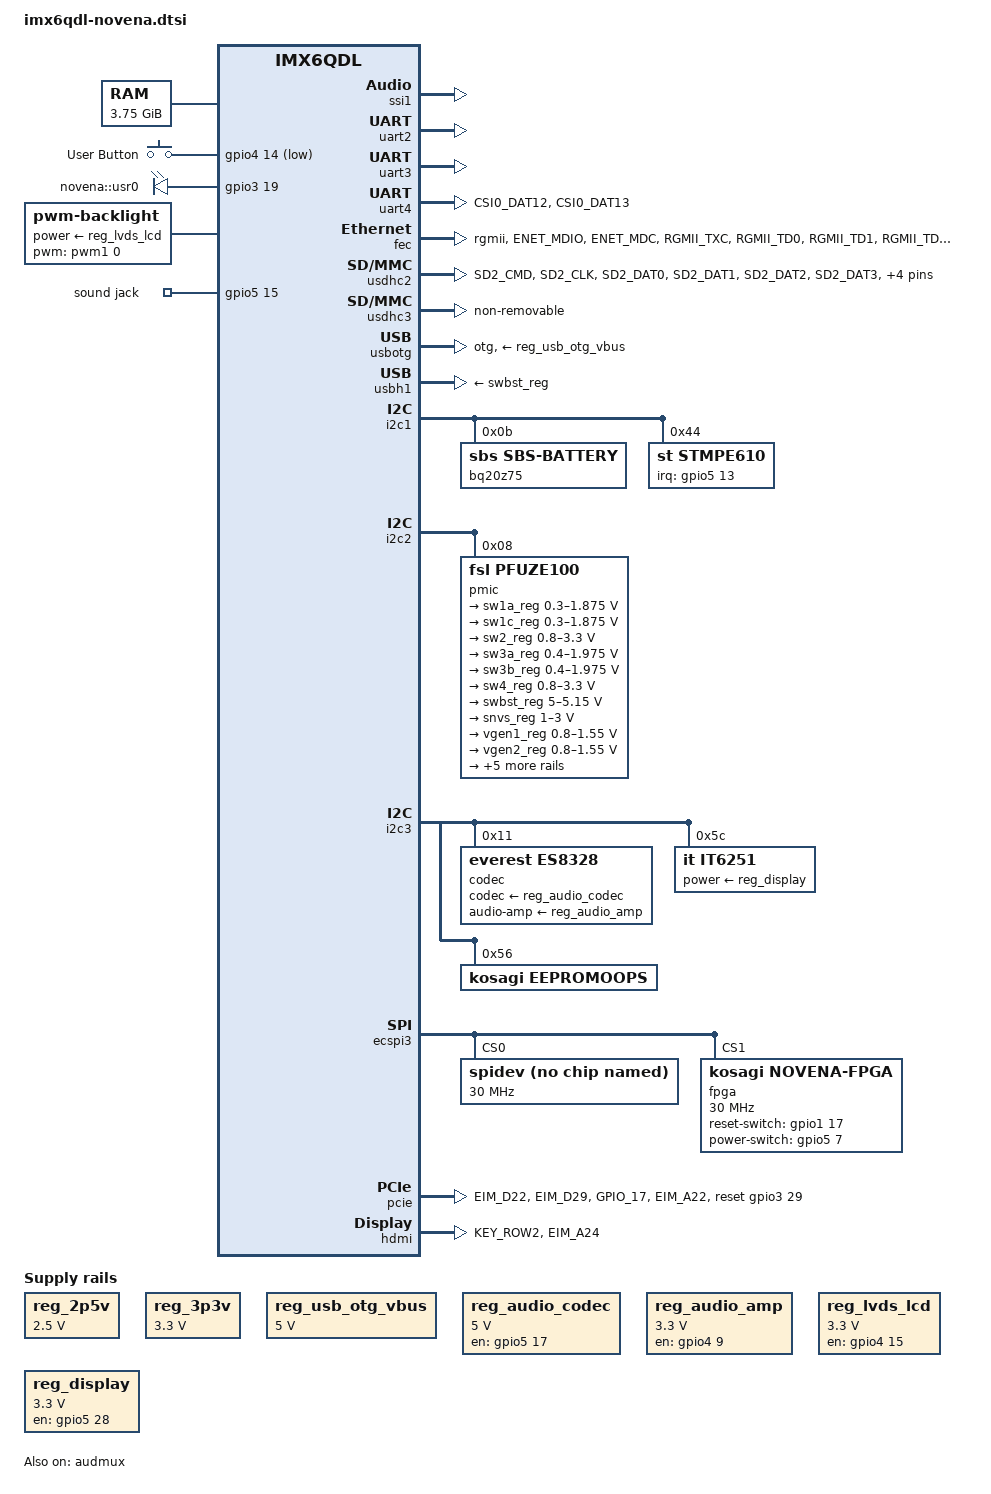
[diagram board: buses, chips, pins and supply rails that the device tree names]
/*
 * Copyright 2012 Freescale Semiconductor, Inc.
 * Copyright 2011 Linaro Ltd.
 *
 * The code contained herein is licensed under the GNU General Public
 * License. You may obtain a copy of the GNU General Public License
 * Version 2 or later at the following locations:
 *
 * http://www.opensource.org/licenses/gpl-license.html
 * http://www.gnu.org/copyleft/gpl.html
 */

/ {
	memory {
		reg = <0x10000000 0xefffffff>;
	};

	regulators {
		compatible = "simple-bus";

		reg_2p5v: 2p5v {
			compatible = "regulator-fixed";
			regulator-name = "2P5V";
			regulator-min-microvolt = <2500000>;
			regulator-max-microvolt = <2500000>;
			regulator-always-on;
		};

		reg_3p3v: 3p3v {
			compatible = "regulator-fixed";
			regulator-name = "3P3V";
			regulator-min-microvolt = <3300000>;
			regulator-max-microvolt = <3300000>;
			regulator-always-on;
		};

		reg_usb_otg_vbus: usb_otg_vbus {
			compatible = "regulator-fixed";
			regulator-name = "usb_otg_vbus";
			regulator-min-microvolt = <5000000>;
			regulator-max-microvolt = <5000000>;
			enable-active-high;
		};
		reg_audio_codec: es8328-regulator {
			compatible = "regulator-fixed";
			regulator-name = "es8328-power";
			regulator-boot-on;
			regulator-min-microvolt = <5000000>;
			regulator-max-microvolt = <5000000>;
			startup-delay-us = <400000>;
			gpio = <&gpio5 17 0>;
			enable-active-high;
		};
		reg_audio_amp: audio-amp-supply {
			compatible = "regulator-fixed";
			regulator-name = "audio-amp-supply";
			regulator-min-microvolt = <3300000>;
			regulator-max-microvolt = <3300000>;
			startup-delay-us = <300000>;
			gpio = <&gpio4 9 0>;
			enable-active-high;
		};
		reg_lvds_lcd: lcd-regulator {
			compatible = "regulator-fixed";

			regulator-name = "lcd-lvds-power";
			regulator-min-microvolt = <3300000>;
			regulator-max-microvolt = <3300000>;
			regulator-boot-on;

			gpio = <&gpio4 15 0>;
			enable-active-high;
		};
		reg_display: display-regulator {
			compatible = "regulator-fixed";

			regulator-name = "lcd-lvds-power";
			regulator-min-microvolt = <3300000>;
			regulator-max-microvolt = <3300000>;
			startup-delay-us = <100000>;
			regulator-boot-on;

			gpio = <&gpio5 28 0>;
			enable-active-high;
		};
	};

	gpio-keys {
		compatible = "gpio-keys";

		user-button {
			label = "User Button";
			gpios = <&gpio4 14 1>;
			gpio-key,wakeup;
			linux,code = <116>; /* KEY_POWER */
		};
	};

	imx-drm {
		compatible = "fsl,imx-drm";
		crtcs = <&ipu1 0>, <&ipu1 1>;
		connectors = <&hdmi>;
	};

	leds {
		compatible = "gpio-leds";
		heartbeat {
			label = "novena::usr0";
			gpios = <&gpio3 19 0>;
			linux,default-trigger = "heartbeat";
		};
	};

	backlight {
		compatible = "pwm-backlight";
		pwms = <&pwm1 0 10000000>;

		pinctrl-names = "default";
		pinctrl-0 = <&pinctrl_backlight_novena>;
		power-supply = <&reg_lvds_lcd>;

		brightness-levels = <0 3 6 12 16 24 32 48 64 96 128 192 255>;
		default-brightness-level = <12>;
	};

	sound {
		compatible = "kosagi,imx-audio-es8328";
		model = "imx-audio-es8328";
		clocks = <&clks 169>, <&clks 57>, <&clks 173>, <&clks 203>, <&clks 201>;
		clock-names = "cko1", "cko1_sel", "pll4_audio", "pll4_post_div", "cko_sel";
		ssi-controller = <&ssi1>;
		audio-codec = <&codec>;
		jack-gpio = <&gpio5 15 0>;
		audio-routing =
			"MIC_IN", "Mic Jack",
			"Mic Jack", "Mic Bias",
			"Headphone Jack", "HP_OUT",
			"Ext Spk", "SPK_OUT";
		mux-int-port = <1>;
		mux-ext-port = <3>;
	};
};

&ssi1 {
	fsl,mode = "i2s-slave";
	status = "okay";
};

&uart2 {
	status = "okay";
	pinctrl-names = "default";
	pinctrl-0 = <&pinctrl_uart2_1>;
};

&uart3 {
	status = "okay";
	pinctrl-names = "default";
	pinctrl-0 = <&pinctrl_uart3_1>;
};

&uart4 {
	status = "okay";
	pinctrl-names = "default";
	pinctrl-0 = <&pinctrl_uart4_novena>;
};

&iomuxc {
	pinctrl-names = "default";
	pinctrl-0 = <&pinctrl_hog>;

	backlight {
		pinctrl_backlight_novena: backlight-pwm {
			fsl,pins = <
				MX6QDL_PAD_DISP0_DAT8__PWM1_OUT   0x1b0b0
				MX6QDL_PAD_CSI0_DAT10__GPIO5_IO28 0x80000000
				MX6QDL_PAD_KEY_ROW4__GPIO4_IO15   0x80000000
			>;
		};
	};

	enet {
		pinctrl_enet_novena: enetgrp-novena {
			fsl,pins = <
				MX6QDL_PAD_ENET_MDIO__ENET_MDIO       0x1b0b0
				MX6QDL_PAD_ENET_MDC__ENET_MDC         0x1b0b0
				MX6QDL_PAD_RGMII_TXC__RGMII_TXC       0x1b020
				MX6QDL_PAD_RGMII_TD0__RGMII_TD0       0x1b028
				MX6QDL_PAD_RGMII_TD1__RGMII_TD1       0x1b028
				MX6QDL_PAD_RGMII_TD2__RGMII_TD2       0x1b028
				MX6QDL_PAD_RGMII_TD3__RGMII_TD3       0x1b028
				MX6QDL_PAD_RGMII_TX_CTL__RGMII_TX_CTL 0x1b028
				MX6QDL_PAD_ENET_REF_CLK__ENET_TX_CLK  0x1b0b0
				MX6QDL_PAD_RGMII_RXC__RGMII_RXC       0x1b0b0
				MX6QDL_PAD_RGMII_RD0__RGMII_RD0       0x1b0b0
				MX6QDL_PAD_RGMII_RD1__RGMII_RD1       0x1b0b0
				MX6QDL_PAD_RGMII_RD2__RGMII_RD2       0x1b0b0
				MX6QDL_PAD_RGMII_RD3__RGMII_RD3       0x1b0b0
				MX6QDL_PAD_RGMII_RX_CTL__RGMII_RX_CTL 0x1b0b0
				MX6QDL_PAD_GPIO_16__ENET_REF_CLK      0x4001b0a8

				/* Ethernet reset */
				MX6QDL_PAD_EIM_D23__GPIO3_IO23  0x80000000
			>;
		};
	};

	hdmi {
		pinctrl_hdmi_novena: hdmi_novena {
			fsl,pins = <
				MX6QDL_PAD_KEY_ROW2__HDMI_TX_CEC_LINE 0x1f8b0
				MX6QDL_PAD_EIM_A24__GPIO5_IO04        0x80000000
			>;
		};
	};

	fpga {
		pinctrl_fpga_gpio: fpga_gpio {
			fsl,pins = <
				/* FPGA power */
				MX6QDL_PAD_SD1_DAT1__GPIO1_IO17 0x80000000

				/* Reset */
				MX6QDL_PAD_DISP0_DAT13__GPIO5_IO07 0x80000000

				/* FPGA GPIOs */
				MX6QDL_PAD_EIM_DA0__GPIO3_IO00	0x80000000
				MX6QDL_PAD_EIM_DA1__GPIO3_IO01	0x80000000
				MX6QDL_PAD_EIM_DA2__GPIO3_IO02	0x80000000
				MX6QDL_PAD_EIM_DA3__GPIO3_IO03	0x80000000
				MX6QDL_PAD_EIM_DA4__GPIO3_IO04	0x80000000
				MX6QDL_PAD_EIM_DA5__GPIO3_IO05  0x80000000
				MX6QDL_PAD_EIM_DA6__GPIO3_IO06  0x80000000
				MX6QDL_PAD_EIM_DA7__GPIO3_IO07  0x80000000
				MX6QDL_PAD_EIM_DA8__GPIO3_IO08	0x80000000
				MX6QDL_PAD_EIM_DA9__GPIO3_IO09	0x80000000
				MX6QDL_PAD_EIM_DA10__GPIO3_IO10	0x80000000
				MX6QDL_PAD_EIM_DA11__GPIO3_IO11	0x80000000
				MX6QDL_PAD_EIM_DA12__GPIO3_IO12	0x80000000
				MX6QDL_PAD_EIM_DA13__GPIO3_IO13	0x80000000
				MX6QDL_PAD_EIM_DA14__GPIO3_IO14	0x80000000
				MX6QDL_PAD_EIM_DA15__GPIO3_IO15	0x80000000
				MX6QDL_PAD_EIM_A16__GPIO2_IO22  0x80000000
				MX6QDL_PAD_EIM_A17__GPIO2_IO21  0x80000000
				MX6QDL_PAD_EIM_A18__GPIO2_IO20  0x80000000
				MX6QDL_PAD_EIM_CS0__GPIO2_IO23	0x80000000
				MX6QDL_PAD_EIM_CS1__GPIO2_IO24	0x80000000
				MX6QDL_PAD_EIM_LBA__GPIO2_IO27  0x80000000
				MX6QDL_PAD_EIM_OE__GPIO2_IO25   0x80000000
				MX6QDL_PAD_EIM_RW__GPIO2_IO26   0x80000000
				MX6QDL_PAD_EIM_WAIT__GPIO5_IO00 0x80000000
				MX6QDL_PAD_EIM_BCLK__GPIO6_IO31 0x80000000
			>;
		};

		pinctrl_fpga_eim: fpga_eim {
			fsl,pins = <
				/* FPGA power */
				MX6QDL_PAD_SD1_DAT1__GPIO1_IO17 0x80000000

				/* Reset */
				MX6QDL_PAD_DISP0_DAT13__GPIO5_IO07 0x80000000

				/* FPGA GPIOs */
				MX6QDL_PAD_EIM_DA0__EIM_AD00    0xb0f1
				MX6QDL_PAD_EIM_DA1__EIM_AD01    0xb0f1
				MX6QDL_PAD_EIM_DA2__EIM_AD02    0xb0f1
				MX6QDL_PAD_EIM_DA3__EIM_AD03    0xb0f1
				MX6QDL_PAD_EIM_DA4__EIM_AD04    0xb0f1
				MX6QDL_PAD_EIM_DA5__EIM_AD05    0xb0f1
				MX6QDL_PAD_EIM_DA6__EIM_AD06    0xb0f1
				MX6QDL_PAD_EIM_DA7__EIM_AD07    0xb0f1
				MX6QDL_PAD_EIM_DA8__EIM_AD08    0xb0f1
				MX6QDL_PAD_EIM_DA9__EIM_AD09    0xb0f1
				MX6QDL_PAD_EIM_DA10__EIM_AD10   0xb0f1
				MX6QDL_PAD_EIM_DA11__EIM_AD11   0xb0f1
				MX6QDL_PAD_EIM_DA12__EIM_AD12   0xb0f1
				MX6QDL_PAD_EIM_DA13__EIM_AD13   0xb0f1
				MX6QDL_PAD_EIM_DA14__EIM_AD14   0xb0f1
				MX6QDL_PAD_EIM_DA15__EIM_AD15   0xb0f1
				MX6QDL_PAD_EIM_A16__EIM_ADDR16  0xb0f1
				MX6QDL_PAD_EIM_A17__EIM_ADDR17  0xb0f1
				MX6QDL_PAD_EIM_A18__EIM_ADDR18  0xb0f1
				MX6QDL_PAD_EIM_CS0__EIM_CS0_B   0xb0f1
				MX6QDL_PAD_EIM_CS1__EIM_CS1_B   0xb0f1
				MX6QDL_PAD_EIM_LBA__EIM_LBA_B   0xb0f1
				MX6QDL_PAD_EIM_OE__EIM_OE_B     0xb0f1
				MX6QDL_PAD_EIM_RW__EIM_RW       0xb0f1
				MX6QDL_PAD_EIM_WAIT__EIM_WAIT_B 0xb0f1
				MX6QDL_PAD_EIM_BCLK__EIM_BCLK   0xb0f1
			>;
		};
	};

	hog {
		pinctrl_hog: hoggrp {
			fsl,pins = <
				/* Touchscreen interrupt */
				MX6QDL_PAD_DISP0_DAT19__GPIO5_IO13 0x80000000

				/* GPIO LED */
				MX6QDL_PAD_EIM_D19__GPIO3_IO19  0x80000000

				/* User button */
				MX6QDL_PAD_KEY_COL4__GPIO4_IO14 0x80000000
			>;
		};
	};

	pcie {
		pinctrl_pcie_novena: pciegrp-novena {
			fsl,pins = <
				/* Wakeup */
				MX6QDL_PAD_EIM_D22__GPIO3_IO22  0x80000000

				/* Reset */
				MX6QDL_PAD_EIM_D29__GPIO3_IO29  0x80000000

				/* Power On */
				MX6QDL_PAD_GPIO_17__GPIO7_IO12  0x80000000

				/* Wifi kill */
				MX6QDL_PAD_EIM_A22__GPIO2_IO16  0x80000000
			>;
		};
	};

	sound {
		pinctrl_sound_novena: sound-novena {
			fsl,pins = <
				/* Audio power regulator */
				MX6QDL_PAD_DISP0_DAT23__GPIO5_IO17 0x80000000

				/* Headphone plug */
				MX6QDL_PAD_DISP0_DAT21__GPIO5_IO15 0x80000000

				/* Speaker amplifier mute */
				MX6QDL_PAD_KEY_ROW1__GPIO4_IO09    0x80000000

				MX6QDL_PAD_GPIO_0__CCM_CLKO1       0x80000000
			>;
		};
	};

	uart4 {
		pinctrl_uart4_novena: uart4-novena {
			fsl,pins = <
				MX6QDL_PAD_CSI0_DAT12__UART4_TX_DATA 0x1b0b1
				MX6QDL_PAD_CSI0_DAT13__UART4_RX_DATA 0x1b0b1
			>;
		};
	};

	usdhc2 {
		pinctrl_usdhc2_novena: usdhc2-novena {
			fsl,pins = <
				MX6QDL_PAD_SD2_CMD__SD2_CMD    0x17059
				MX6QDL_PAD_SD2_CLK__SD2_CLK    0x10059
				MX6QDL_PAD_SD2_DAT0__SD2_DATA0 0x17059
				MX6QDL_PAD_SD2_DAT1__SD2_DATA1 0x17059
				MX6QDL_PAD_SD2_DAT2__SD2_DATA2 0x17059
				MX6QDL_PAD_SD2_DAT3__SD2_DATA3 0x17059

				/* Write protect */
				MX6QDL_PAD_GPIO_2__GPIO1_IO02   0x80000000

				/* Card detect */
				MX6QDL_PAD_GPIO_4__GPIO1_IO04   0x80000000
			>;
		};
	};
};

&fec {
	status = "okay";
	pinctrl-names = "default";
	pinctrl-0 = <&pinctrl_enet_novena>;
	phy-mode = "rgmii";
	phy-reset-gpios = <&gpio3 23 0>;
	mac-address = [00 00 00 00 00 00];
	rxc-skew-ps = <3000>;
	rxdv-skew-ps = <0>;
	txc-skew-ps = <3000>;
	txen-skew-ps = <0>;
	rxd0-skew-ps = <0>;
	rxd1-skew-ps = <0>;
	rxd2-skew-ps = <0>;
	rxd3-skew-ps = <0>;
	txd0-skew-ps = <3000>;
	txd1-skew-ps = <3000>;
	txd2-skew-ps = <3000>;
	txd3-skew-ps = <3000>;
};

&usdhc2 {
	pinctrl-names = "default";
	pinctrl-0 = <&pinctrl_usdhc2_1>;
	pinctrl-0 = <&pinctrl_usdhc2_novena>;
	cd-gpios = <&gpio1 4 0>;
	wp-gpios = <&gpio1 2 0>;
	status = "okay";
};

&usdhc3 {
	pinctrl-names = "default";
	pinctrl-0 = <&pinctrl_usdhc3_2>;
	non-removable;
	status = "okay";
};

&usbotg {
	vbus-supply = <&reg_usb_otg_vbus>;
	dr_mode = "otg";
	pinctrl-names = "default";
	pinctrl-0 = <&pinctrl_usbotg_2>;
	disable-over-current;
	status = "okay";
};

&usbh1 {
	vbus-supply = <&swbst_reg>;
	status = "okay";
};

&audmux {
	status = "okay";
	pinctrl-names = "default";
	pinctrl-0 = <&pinctrl_audmux_2>;
};

&i2c1 {
	pinctrl-names = "default";
	pinctrl-0 = <&pinctrl_i2c1_1>;
	status = "okay";

	bq20z75@b {
		compatible = "sbs,sbs-battery";
		status = "okay";
		reg = <0xb>;
		sbs,i2c-retry-count = <20>;
		sbs,poll-retry-count = <20>;
	};

	stmpe610@0 {
		status = "okay";
		compatible = "st,stmpe610";
		#address-cells = <1>;
		#size-cells = <0>;
		reg = <0x44>;
		irq-over-gpio;
		irq-gpios = <&gpio5 13 0>;
		id = <0>;
		blocks = <0x5>;
		irq-trigger = <0x1>;

		stmpe_adc {
			compatible = "st,stmpe-adc";
		};
		stmpe_touchscreen {
			compatible = "st,stmpe-ts";
			ts,sample-time = <4>;
			ts,mod-12b = <1>;
			ts,ref-sel = <0>;
			ts,adc-freq = <1>;
			ts,ave-ctrl = <1>;
			ts,touch-det-delay = <2>;
			ts,settling = <2>;
			ts,fraction-z = <7>;
			ts,i-drive = <1>;
		};
	};
};

&i2c2 {
	pinctrl-names = "default";
	pinctrl-0 = <&pinctrl_i2c2_1>;
	status = "okay";

	pmic: pfuze100@08 {
		compatible = "fsl,pfuze100";
		reg = <0x08>;
		status = "okay";

		regulators {
			sw1a_reg: sw1ab {
				regulator-min-microvolt = <300000>;
				regulator-max-microvolt = <1875000>;
				regulator-boot-on;
				regulator-always-on;
				regulator-ramp-delay = <6250>;
			};

			sw1c_reg: sw1c {
				regulator-min-microvolt = <300000>;
				regulator-max-microvolt = <1875000>;
				regulator-boot-on;
				regulator-always-on;
			};

			sw2_reg: sw2 {
				regulator-min-microvolt = <800000>;
				regulator-max-microvolt = <3300000>;
				regulator-boot-on;
				regulator-always-on;
			};

			sw3a_reg: sw3a {
				regulator-min-microvolt = <400000>;
				regulator-max-microvolt = <1975000>;
				regulator-boot-on;
				regulator-always-on;
			};

			sw3b_reg: sw3b {
				regulator-min-microvolt = <400000>;
				regulator-max-microvolt = <1975000>;
				regulator-boot-on;
				regulator-always-on;
			};

			sw4_reg: sw4 {
				regulator-min-microvolt = <800000>;
				regulator-max-microvolt = <3300000>;
			};

			swbst_reg: swbst {
				regulator-min-microvolt = <5000000>;
				regulator-max-microvolt = <5150000>;
				regulator-boot-on;
			};

			snvs_reg: vsnvs {
				regulator-min-microvolt = <1000000>;
				regulator-max-microvolt = <3000000>;
				regulator-boot-on;
				regulator-always-on;
			};

			vref_reg: vrefddr {
				regulator-boot-on;
				regulator-always-on;
			};

			vgen1_reg: vgen1 {
				regulator-min-microvolt = <800000>;
				regulator-max-microvolt = <1550000>;
			};

			vgen2_reg: vgen2 {
				regulator-min-microvolt = <800000>;
				regulator-max-microvolt = <1550000>;
			};

			vgen3_reg: vgen3 {
				regulator-min-microvolt = <1800000>;
				regulator-max-microvolt = <3300000>;
			};

			vgen4_reg: vgen4 {
				regulator-min-microvolt = <1800000>;
				regulator-max-microvolt = <3300000>;
				regulator-always-on;
			};

			vgen5_reg: vgen5 {
				regulator-min-microvolt = <1800000>;
				regulator-max-microvolt = <3300000>;
				regulator-always-on;
			};

			vgen6_reg: vgen6 {
				regulator-min-microvolt = <1800000>;
				regulator-max-microvolt = <3300000>;
				regulator-always-on;
			};

			coin_reg: coin {
				regulator-min-microvolt = <3300000>;
				regulator-max-microvolt = <3300000>;
				regulator-always-on;
				regulator-boot-on;
			};
		};
	};
};

&i2c3 {
	pinctrl-names = "default";
	pinctrl-0 = <&pinctrl_i2c3_1>;
	status = "okay";

	codec: es8328@11 {
		compatible = "everest,es8328";
		reg = <0x11>;
		codec-supply = <&reg_audio_codec>;
		audio-amp-supply = <&reg_audio_amp>;
		pinctrl-names = "default";
		pinctrl-0 = <&pinctrl_sound_novena>;
		status = "okay";
	};

	it6251@73 {
		compatible = "it,it6251";
		reg = <0x5c>;
		power-supply = <&reg_display>;
		status = "okay";
	};

	eepromoops@56 {
		compatible = "kosagi,eepromoops";
		reg = <0x56>;
		status = "okay";
	};
};

&ecspi3 {
	pinctrl-names = "default";
	pinctrl-0 = <&pinctrl_ecspi3_1>;
	fsl,spi-num-chipselects = <3>;
	status = "okay";

	spidev@0 {
		compatible = "spidev";
		spi-max-frequency = <30000000>;
		reg = <0>;
	};

	fpga@1 {
		compatible = "kosagi,novena-fpga";

		spi-max-frequency = <30000000>;
		reg = <1>;

		pinctrl-names = "default", "state-eim", "state-gpio";
		pinctrl-0 = <&pinctrl_fpga_gpio>;
		pinctrl-1 = <&pinctrl_fpga_eim>;
		pinctrl-2 = <&pinctrl_fpga_gpio>;
		clocks = <&clks 205>, <&clks 207>, <&clks 190>, <&clks 196>;
		clock-names = "lvds", "lvds-switch", "lvds-parent", "eim-slow";
		reset-switch = <&gpio1 17 0>;
		power-switch = <&gpio5 7 0>;

		kosagi,weim-cs0-timing = <0x31910BBF 0x00001000 0x09014000
					  0x00000000 0x09080800 0x00000000>;
		kosagi,weim-cs1-timing = <0x81910CBF 0x00001000 0x07001000
					  0x00000200 0x02040400 0x00000000>;
		kosagi,weim-cs-mapping = <2>;
	};
};

&pcie {
	pinctrl-names = "default";
	pinctrl-0 = <&pinctrl_pcie_novena>;
	reset-gpio = <&gpio3 29 0>;
	power-on-gpio = <&gpio7 12 0>;
	wake-up-gpio = <&gpio3 22 0>;
	disable-gpio = <&gpio2 16 0>;
	status = "okay";
};

&hdmi {
	pinctrl-names = "default";
	pinctrl-0 = <&pinctrl_hdmi_novena>;
	ddc = <&i2c2>;
	crtcs = <&ipu1 0>;
	status = "okay";
};

&ldb {
        fsl,dual-channel;
        lvds-channel@0 {
                fsl,data-mapping = "jeida";
                fsl,data-width = <24>;
                crtcs = <&ipu1 0>, <&ipu1 1>;
                display-timings {
                        1920x1080p60 {
                                clock-frequency = <137142857>;
                                hactive = <1920>;
                                vactive = <1080>;
                                hback-porch = <148>;
                                hfront-porch = <88>;
                                hsync-len = <44>;
                                vback-porch = <36>;
                                vfront-porch = <4>;
                                vsync-len = <5>;
                                hsync-active = <1>;
                                vsync-active = <1>;
                        };
/* -- Old retina LCD panel
                        2560x1700p50 {
                                clock-frequency = <185000000>;
                                hactive = <2560>;
                                vactive = <1700>;
                                hback-porch = <80>;
                                hfront-porch = <48>;
                                hsync-len = <32>;
                                vback-porch = <36>;
                                vfront-porch = <3>;
                                vsync-len = <10>;
                                hsync-active = <1>;
                                vsync-active = <1>;
                        };
*/
                };
        };
};
